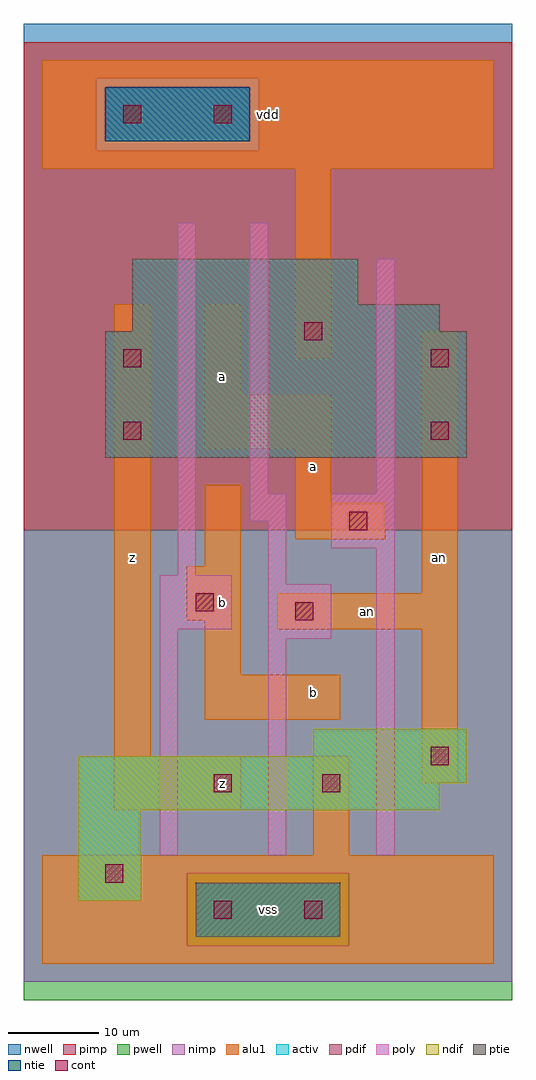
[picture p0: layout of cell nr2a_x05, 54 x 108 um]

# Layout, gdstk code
import gdstk
lib = gdstk.Library(unit=1e-6, precision=1e-09)
def R(c, l, rs):  # rectangles x0, y0, x1, y1
    for r in rs: c.add(gdstk.rectangle(r[:2], r[2:], *l))
ndif = (3, 0)
pdif = (4, 0)
ntie = (5, 0)
ptie = (6, 0)
cont = (25, 0)
pwell = (41, 0)
nwell = (42, 0)
activ = (43, 0)
pimp = (44, 0)
nimp = (45, 0)
poly = (46, 0)
alu1 = (49, 0)

nr2a_x05 = lib.new_cell('nr2a_x05')
R(nr2a_x05, ndif, [(4,7,11,17), (4,17,44,20), (4,20,47,23), (30,23,47,26)])
R(nr2a_x05, pdif, [(7,56,47,70), (10,70,44,73), (10,73,35,78)])
R(nr2a_x05, ntie, [(7,91,23,97)])
R(nr2a_x05, ptie, [(17,3,33,9)])
R(nr2a_x05, cont, [(19,5,21,7), (29,5,31,7), (7,9,9,11), (19,19,21,21), (31,19,33,21), (43,22,45,24), (28,38,30,40), (17,39,19,41), (34,48,36,50), (9,58,11,60), (43,58,45,60), (9,66,11,68), (43,66,45,68), (29,69,31,71), (9,93,11,95), (19,93,21,95)])
R(nr2a_x05, pwell, [(-2,-4,52,48)])
R(nr2a_x05, nwell, [(-2,48,52,104)])
R(nr2a_x05, activ, [(17,3,33,9), (4,7,11,17), (4,17,44,20), (4,20,47,23), (30,23,47,26), (7,56,47,70), (10,70,44,73), (10,73,35,78), (7,91,23,97)])
R(nr2a_x05, pimp, [(16,2,34,10), (-2,48,52,90), (-2,90,6,98), (24,90,52,98), (-2,98,52,102)])
R(nr2a_x05, nimp, [(-2,-2,52,2), (-2,2,16,10), (34,2,52,10), (-2,10,52,48), (6,90,24,98)])
R(nr2a_x05, poly, [(13,12,15,37), (25,12,27,36), (37,12,39,46), (25,36,32,42), (13,37,21,43), (25,42,27,49), (15,43,17,82), (32,46,39,52), (23,49,27,52), (23,52,25,82), (37,52,39,78)])
R(nr2a_x05, alu1, [(0,0,50,12), (30,12,34,23), (8,17,22,23), (42,20,46,37), (8,23,12,73), (18,27,33,32), (18,32,22,38), (26,37,46,41), (16,38,22,44), (42,41,46,70), (18,44,22,53), (28,47,38,51), (28,51,32,57), (18,57,32,63), (18,63,22,73), (28,67,32,88), (0,88,50,100)])
nr2a_x05.add(gdstk.Label('z', (20,20), layer=49, texttype=0))
nr2a_x05.add(gdstk.Label('z', (10,45), layer=49, texttype=0))
nr2a_x05.add(gdstk.Label('b', (20,40), layer=49, texttype=0))
nr2a_x05.add(gdstk.Label('a', (20,65), layer=49, texttype=0))
nr2a_x05.add(gdstk.Label('vss', (25,6), layer=49, texttype=0))
nr2a_x05.add(gdstk.Label('b', (30,30), layer=49, texttype=0))
nr2a_x05.add(gdstk.Label('a', (30,55), layer=49, texttype=0))
nr2a_x05.add(gdstk.Label('vdd', (25,94), layer=49, texttype=0))
nr2a_x05.add(gdstk.Label('an', (36,39), layer=49, texttype=0))
nr2a_x05.add(gdstk.Label('an', (44,45), layer=49, texttype=0))

lib.write_gds('nr2a_x05.gds')
